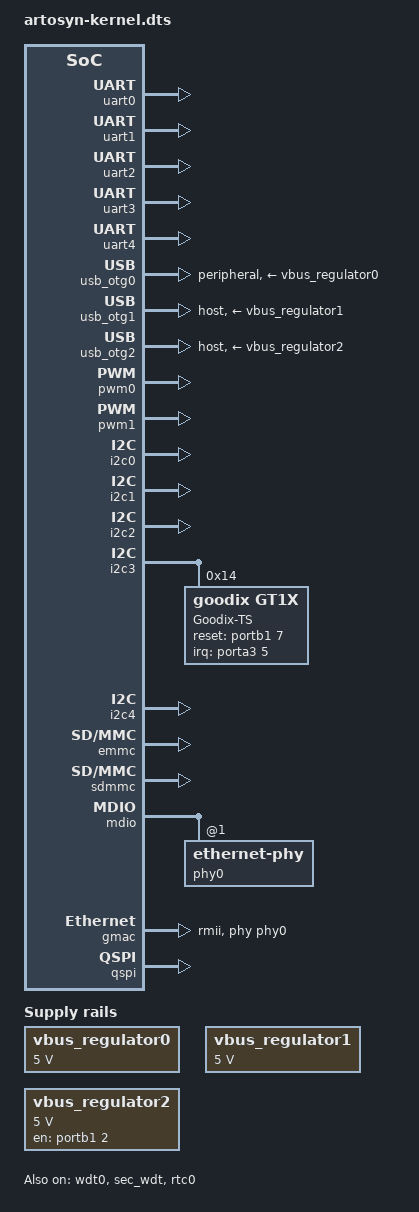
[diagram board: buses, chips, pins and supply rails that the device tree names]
/*
 * Copyright 2015 Artosyn Co., Ltd.
 *
 * This file is dual-licensed: you can use it either under the terms
 * of the GPL or the X11 license, at your option. Note that this dual
 * licensing only applies to this file, and not this project as a
 * whole.
 *
 *  a) This file is free software; you can redistribute it and/or
 *     modify it under the terms of the GNU General Public License as
 *     published by the Free Software Foundation; either version 2 of the
 *     License, or (at your option) any later version.
 *
 *     This file is distributed in the hope that it will be useful,
 *     but WITHOUT ANY WARRANTY; without even the implied warranty of
 *     MERCHANTABILITY or FITNESS FOR A PARTICULAR PURPOSE.  See the
 *     GNU General Public License for more details.
 *
 * Or, alternatively,
 *
 *  b) Permission is hereby granted, free of charge, to any person
 *     obtaining a copy of this software and associated documentation
 *     files (the "Software"), to deal in the Software without
 *     restriction, including without limitation the rights to use,
 *     copy, modify, merge, publish, distribute, sublicense, and/or
 *     sell copies of the Software, and to permit persons to whom the
 *     Software is furnished to do so, subject to the following
 *     conditions:
 *
 *     The above copyright notice and this permission notice shall be
 *     included in all copies or substantial portions of the Software.
 *
 *     THE SOFTWARE IS PROVIDED "AS IS", WITHOUT WARRANTY OF ANY KIND,
 *     EXPRESS OR IMPLIED, INCLUDING BUT NOT LIMITED TO THE WARRANTIES
 *     OF MERCHANTABILITY, FITNESS FOR A PARTICULAR PURPOSE AND
 *     NONINFRINGEMENT. IN NO EVENT SHALL THE AUTHORS OR COPYRIGHT
 *     HOLDERS BE LIABLE FOR ANY CLAIM, DAMAGES OR OTHER LIABILITY,
 *     WHETHER IN AN ACTION OF CONTRACT, TORT OR OTHERWISE, ARISING
 *     OTHER DEALINGS IN THE SOFTWARE.
 */

/dts-v1/;
#include "../../common/artosyn-kernel.dtsi"
#include "artosyn-memory.dtsi"

&uart0 {
	status = "okay";
};

&uart1 {
	status = "okay";
};

&uart2 {
	status = "okay";
};

&uart3 {
	status = "okay";
};

&uart4 {
	status = "okay";
};

&vbus_regulator0 {
	compatible = "regulator-fixed";
	regulator-name = "usb_otg0_vbus";
	regulator-min-microvolt = <5000000>;
	regulator-max-microvolt = <5000000>;
	/delete-property/ gpio;
	enable-active-high;
};

&vbus_regulator1 {
	compatible = "regulator-fixed";
	regulator-name = "usb_otg1_vbus";
	regulator-min-microvolt = <5000000>;
	regulator-max-microvolt = <5000000>;
	/delete-property/ gpio;
	enable-active-high;
};

&vbus_regulator2 {
	compatible = "regulator-fixed";
	regulator-name = "usb_otg2_vbus";
	regulator-min-microvolt = <5000000>;
	regulator-max-microvolt = <5000000>;
	gpio = <&portb1 2 GPIO_ACTIVE_HIGH>;
	enable-active-high;
};

&usb_otg0 {
	dr_mode = "peripheral";
	vbus-supply = <&vbus_regulator0>;
	status = "okay";
};

&usb_otg1 {
	dr_mode = "host";
	vbus-supply = <&vbus_regulator1>;
	status = "okay";
};

&usb_otg2 {
	dr_mode = "host";
	vbus-supply = <&vbus_regulator2>;
	status = "okay";
};

&wdt0 {
	status = "okay";
};

&sec_wdt {
    status = "okay";
};

&rtc0 {
	status = "okay";
};

&pwm0 {
	status = "okay";
};

&pwm1 {
	status = "okay";
};

&tzc {
	status = "disabled";
};

&spi0 {
	status = "disabled";
};

&spi1 {
	status = "disabled";
};

&spi0_s {
	status = "disabled";
};

&spi1_s {
	status = "disabled";
};

&i2c0 {
	status = "okay";
};

&i2c1 {
	status = "okay";
};

&i2c2 {
	status = "okay";
};

&i2c3 {
	status = "okay";
	Goodix-TS@14 {
		status = "okay";
		compatible = "goodix,gt1x";
		reg = <0x14>;
		interrupt-parent = <&porta3>;
		interrupts = <5 IRQ_TYPE_EDGE_FALLING>;
		//interrupts = <13 IRQ_TYPE_EDGE_FALLING>;
		goodix,reset-gpio = <&portb1 7 GPIO_ACTIVE_HIGH>;
		goodix,irq-gpio = <&porta3 5 IRQ_TYPE_EDGE_FALLING>;
		irq-flags = <2>;
		touchscreen-max-id = <11>;
		touchscreen-size-x = <720>;
		touchscreen-size-y = <1440>;
		touchscreen-max-w = <512>;
		touchscreen-max-p = <512>;
		touchscreen-key-map = <172>, <158>; /*KEY_HOMEPAGE=172, KEY_BACK=158��KEY_MENU=139*/
		goodix,slide-wakeup = <0>;
		goodix,type-a-report = <0>;
		goodix,driver-send-cfg = <0>;
		goodix,resume-in-workqueue = <0>;
		goodix,int-sync = <1>;
		goodix,swap-x2y = <0>;
		goodix,esd-protect = <1>;
		goodix,auto-update-cfg = <0>;
		goodix,power-off-sleep = <0>;
		goodix,pen-suppress-finger = <0>;
		goodix,cfg-group0 = [
			53 D0 02 00 05 05 F5 D5 21 48 2D 0F 5A 41 0E 05 00 00 32 32 20 00 05 14 14 1A 14 8B 2B 00
		];
	};
};

&i2c4 {
	status = "okay";
};

&emmc {
//	/delete-property/voltage-ranges;
//	/delete-property/no-1-8-v;
	/delete-property/full-pwr-cycle;
//	vqmmc-supply = <&DA9062_LDO4>;
//	mmc-hs200-1_8v;
	status = "okay";
};

&sdmmc {
	/delete-property/ no-sdio;
	cap-sdio-irq;
	/delete-property/ sd-uhs-sdr12;
	/delete-property/ sd-uhs-sdr25;
	/delete-property/ sd-uhs-sdr50;
	/delete-property/ sd-uhs-sdr104;
	#no-sd;
	broken-cd;
	slot-bitmap-fixed-1v8 = <1>;
	status = "okay";
};

&mdio {
	status = "okay";

	phy0: ethernet-phy@1 {
		status = "okay";
	};
};

&gmac {
	mac-address = [00 00 01 02 03 04]; /*This should not be here if uboot has set mac already*/
	phy-mode = "rmii";
	phy-handle = <&phy0>;
	tzc-handle = <&tzc>;
	tx-fifo-depth = <3>;
	tx-fifo-depth-1000 = <2>;
	tx-bd-num = <64>; /*total 128 bds, rx-bd-num = 128 - tx-bd-num*/
	tx-enhance;
	rx-enhance;
	status = "okay";
};

&qspi {
	status = "okay";
};

